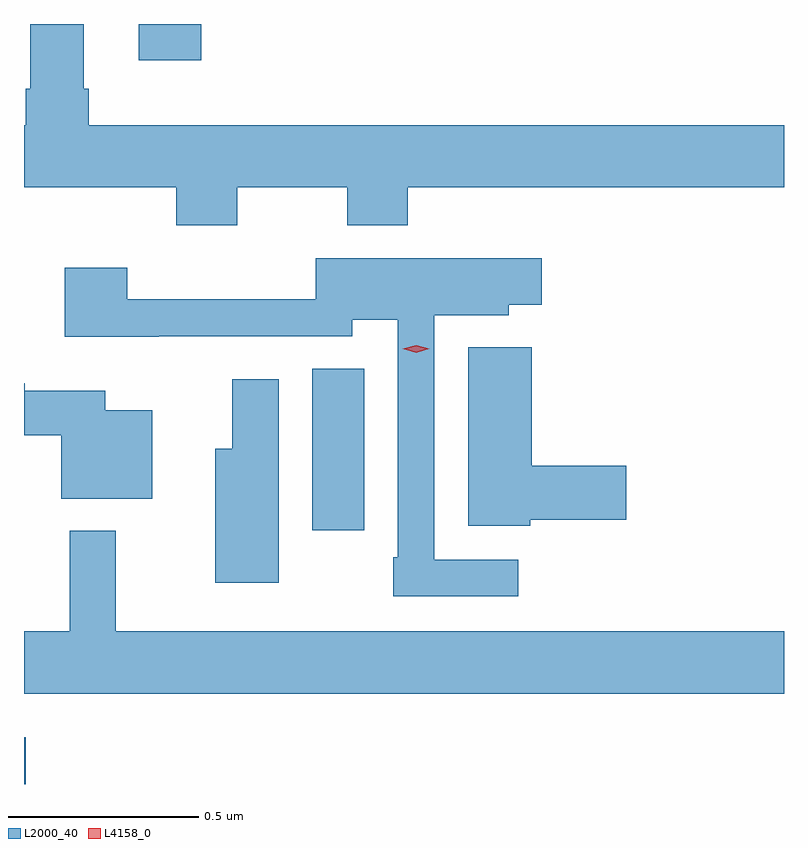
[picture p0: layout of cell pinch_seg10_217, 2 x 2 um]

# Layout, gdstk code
import gdstk
lib = gdstk.Library(unit=1e-6, precision=1e-09)
def R(c, l, rs):  # rectangles x0, y0, x1, y1
    for r in rs: c.add(gdstk.rectangle(r[:2], r[2:], *l))
def P(c, l, *ps):  # polygons
    for p in ps: c.add(gdstk.Polygon(p, *l))
L2000_40 = (2000, 40)
L4158_0 = (4158, 0)

pinch_seg10_217 = lib.new_cell('pinch_seg10_217')
R(pinch_seg10_217, L2000_40, [(814.386,1260.118,814.39,1260.241), (815.144,1260.786,815.281,1261.211), (814.688,1262.022,814.852,1262.118)])
P(pinch_seg10_217, L2000_40, [(814.947,1261.688),(815.236,1261.688),(815.236,1261.589),(815.396,1261.589),(815.396,1261.688),(816.386,1261.688),(816.386,1261.852),(814.556,1261.852),(814.556,1261.948),(814.543,1261.948),(814.543,1262.118),(814.403,1262.118),(814.403,1261.948),(814.391,1261.948),(814.391,1261.852),(814.386,1261.852),(814.386,1261.688),(814.787,1261.688),(814.787,1261.589),(814.947,1261.589)],
  [(815.686,1260.708),(815.466,1260.708),(815.466,1261.352),(815.661,1261.352),(815.661,1261.379),(815.749,1261.379),(815.749,1261.501),(815.154,1261.501),(815.154,1261.394),(814.658,1261.394),(814.658,1261.477),(814.493,1261.477),(814.493,1261.295),(814.741,1261.295),(814.741,1261.296),(815.25,1261.296),(815.25,1261.34),(815.37,1261.34),(815.37,1260.715),(815.358,1260.715),(815.358,1260.612),(815.686,1260.612)],
  [(815.718,1260.814),(815.971,1260.814),(815.971,1260.956),(815.722,1260.956),(815.722,1261.267),(815.555,1261.267),(815.555,1260.797),(815.718,1260.797)],
  [(815.056,1261.183),(814.934,1261.183),(814.934,1261),(814.889,1261),(814.889,1260.648),(815.056,1260.648)],
  [(814.723,1261.102),(814.6,1261.102),(814.6,1261.153),(814.388,1261.153),(814.388,1261.172),(814.386,1261.172),(814.386,1261.036),(814.484,1261.036),(814.484,1260.869),(814.723,1260.869)],
  [(816.386,1260.52),(814.628,1260.52),(814.628,1260.784),(814.507,1260.784),(814.507,1260.52),(814.386,1260.52),(814.386,1260.356),(816.386,1260.356)])
P(pinch_seg10_217, L4158_0, [(815.418,1261.253),(815.383,1261.263),(815.383,1261.263),(815.383,1261.263),(815.418,1261.273),(815.452,1261.263),(815.452,1261.263),(815.452,1261.263)])

lib.write_gds('pinch_seg10_217.gds')
